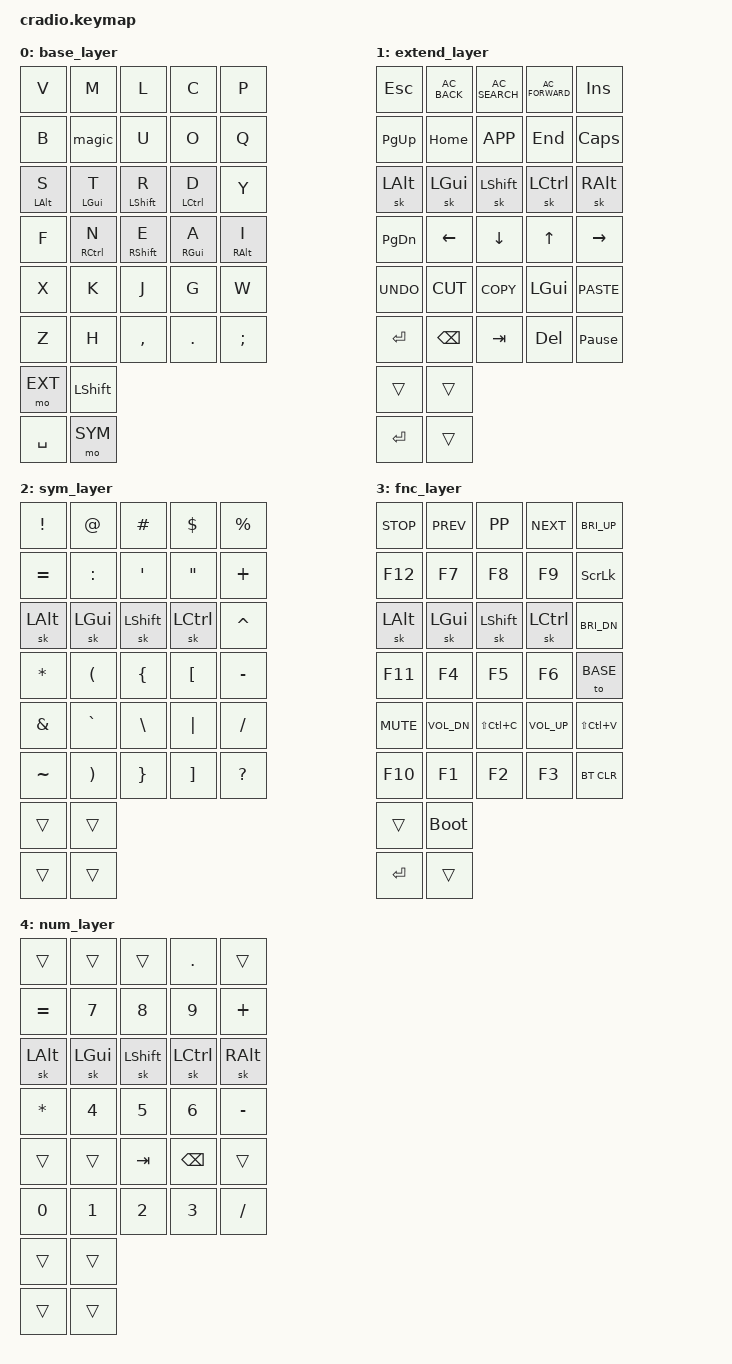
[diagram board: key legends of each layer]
// Copyright (c) 2022 The ZMK Contributors
// SPDX-License-Identifier: MIT

#include <behaviors.dtsi>
#include <dt-bindings/zmk/keys.h>
#include <dt-bindings/zmk/bt.h>

#include "magic_sturdy.dtsi"

#define BASE 0
#define EXT 1
#define SYM 2
#define FNC 3
#define NUM 4

/ {
    // The Ferris Sweep / Cradio has 34 keys numbered 0 to 33.
    // Thumb keys are: 30 (Outer Left), 31 (Inner Left), 32 (Inner Right), 33 (Outer Right)
    behaviors {
        hml: home_row_mod_left {
            compatible = "zmk,behavior-hold-tap";
            #binding-cells = <2>;

            flavor = "balanced";
            tapping-term-ms = <210>;
            quick-tap-ms = <150>;
            require-prior-idle-ms = <110>;

            bindings = <&kp>, <&kp>;

            // Opposite-hand keys: right fingers + right thumbs.
            hold-trigger-key-positions = <
                5 6 7 8 9
                15 16 17 18 19
                25 26 27 28 29
                32 33
            >;

            hold-trigger-on-release;
        };

        hmr: home_row_mod_right {
            compatible = "zmk,behavior-hold-tap";
            #binding-cells = <2>;

            flavor = "balanced";
            tapping-term-ms = <280>;
            quick-tap-ms = <175>;
            require-prior-idle-ms = <150>;

            bindings = <&kp>, <&kp>;

            // Opposite-hand keys: left fingers + left thumbs.
            hold-trigger-key-positions = <
                0 1 2 3 4
                10 11 12 13 14
                20 21 22 23 24
                30 31
            >;

            hold-trigger-on-release;
        };
    };

    combos {
        compatible = "zmk,combos";
        
        // Seniply triggers the Number layer by pressing the Shift + Sym thumbs simultaneously.
        combo_num {
            timeout-ms = <50>;
            key-positions = <31 33>; 
            bindings = <&mo NUM>;
        };
    };

    conditional_layers {
        compatible = "zmk,conditional-layers";
        
        // Seniply triggers the Function layer by pressing the Extend + Sym thumbs simultaneously.
        func_layer {
            if-layers = <EXT SYM>;
            then-layer = <FNC>;
        };
    };

    keymap {
        compatible = "zmk,keymap";

        base_layer {
            bindings = <
                &kp V          &kp M          &kp L           &kp C          &kp P
                &kp B          &magic         &kp U           &kp O          &kp Q

                &hml LALT S    &hml LGUI T    &hml LSHIFT R   &hml LCTRL D   &kp Y
                &kp F          &hmr RCTRL N   &hmr RSHIFT E   &hmr RGUI A    &hmr RALT I

                &kp X          &kp K          &kp J           &kp G          &kp W
                &kp Z          &kp H          &kp COMMA       &kp DOT        &kp SEMI

                &mo EXT        &kp LSHFT
                &kp SPACE      &mo SYM
            >;
        };

        extend_layer {
            bindings = <
            // ╭──────────┬──────────┬──────────┬──────────┬──────────╮  ╭──────────┬──────────┬──────────┬──────────┬──────────╮
            // │ ESC      │ BACK     │ FIND     │ FORWARD  │ INSERT   │  │ PG UP    │ HOME     │ APP      │ END      │ CAPS     │
                 &kp ESC    &kp C_AC_BACK &kp C_AC_SEARCH &kp C_AC_FORWARD &kp INS   &kp PG_UP  &kp HOME   &kp K_APP     &kp END    &kp CAPS
            // ├──────────┼──────────┼──────────┼──────────┼──────────┤  ├──────────┼──────────┼──────────┼──────────┼──────────┤
            // │ sk ALT   │ sk GUI   │ sk SHIFT │ sk CTRL  │ sk ALTGR │  │ PG DN    │ LEFT     │ DOWN     │ UP       │ RIGHT    │
                 &sk LALT   &sk LGUI   &sk LSHFT  &sk LCTRL  &sk RALT      &kp PG_DN  &kp LEFT   &kp DOWN   &kp UP     &kp RIGHT
            // ├──────────┼──────────┼──────────┼──────────┼──────────┤  ├──────────┼──────────┼──────────┼──────────┼──────────┤
            // │ UNDO     │ CUT      │ COPY     │ GUI      │ PASTE    │  │ ENTER    │ BACKSPACE│ TAB      │ DEL      │ PAUSE    │
                 &kp K_UNDO &kp K_CUT  &kp K_COPY &kp LGUI &kp K_PASTE     &kp RET    &kp BSPC   &kp TAB    &kp DEL    &kp PAUSE_BREAK
            // ╰──────────┴──────────┴──────────┼──────────┼──────────┤  ├──────────┼──────────┼──────────┴──────────┴──────────╯
                                                 &trans     &trans        &kp RET     &trans
            >;
        };

        sym_layer {
            bindings = <
            // ╭──────────┬──────────┬──────────┬──────────┬──────────╮  ╭──────────┬──────────┬──────────┬──────────┬──────────╮
            // │  !       │  @       │  #       │  $       │  %       │  │  =       │  :       │  '       │  "       │  +       │
                 &kp EXCL   &kp AT     &kp HASH   &kp DLLR   &kp PRCNT     &kp EQUAL  &kp COLON  &kp SQT    &kp DQT    &kp PLUS
            // ├──────────┼──────────┼──────────┼──────────┼──────────┤  ├──────────┼──────────┼──────────┼──────────┼──────────┤
            // │ sk ALT   │ sk GUI   │ sk SHIFT │ sk CTRL  │  ^       │  │  *       │  (       │  {       │  [       │  -       │
                 &sk LALT   &sk LGUI   &sk LSHFT  &sk LCTRL  &kp CARET     &kp ASTRK  &kp LPAR   &kp LBRC   &kp LBKT   &kp MINUS
            // ├──────────┼──────────┼──────────┼──────────┼──────────┤  ├──────────┼──────────┼──────────┼──────────┼──────────┤
            // │ &        │  `       │  \       │  |       │  /       │  │  ~       │  )       │  }       │  ]       │  ?       │
                 &kp AMPS   &kp GRAVE  &kp BSLH   &kp PIPE   &kp FSLH      &kp TILDE  &kp RPAR   &kp RBRC   &kp RBKT   &kp QMARK
            // ╰──────────┴──────────┴──────────┼──────────┼──────────┤  ├──────────┼──────────┼──────────┴──────────┴──────────╯
                                                 &trans     &trans        &trans     &trans
            >;
        };

        fnc_layer {
            bindings = <
            // ╭──────────┬──────────┬──────────┬──────────┬──────────╮  ╭──────────┬──────────┬──────────┬──────────┬──────────╮
            // │ STOP     │ PREV     │ PLAY/PAU │ NEXT     │ BR UP    │  │ F12      │ F7       │ F8       │ F9       │ SCROLL LK│
                 &kp K_STOP &kp K_PREV &kp K_PP   &kp K_NEXT &kp C_BRI_UP  &kp F12    &kp F7     &kp F8     &kp F9     &kp SLCK
            // ├──────────┼──────────┼──────────┼──────────┼──────────┤  ├──────────┼──────────┼──────────┼──────────┼──────────┤
            // │ ALT      │ GUI      │ SHIFT    │ CTRL     │ BR DN    │  │ F11      │ F4       │ F5       │ F6       │ To BASE  │
                 &sk LALT   &sk LGUI   &sk LSHFT  &sk LCTRL  &kp C_BRI_DN  &kp F11    &kp F4     &kp F5     &kp F6     &to BASE
            // ├──────────┼──────────┼──────────┼──────────┼──────────┤  ├──────────┼──────────┼──────────┼──────────┼──────────┤
            // │ MUTE     │ VOL DN   │ C+S+C    │ VOL UP   │ C+S+V    │  │ F10      │ F1       │ F2       │ F3       │ BT_CLR   |
                 &kp K_MUTE &kp K_VOL_DN &kp LS(LC(C)) &kp K_VOL_UP &kp LS(LC(V)) &kp F10    &kp F1     &kp F2     &kp F3      &bt BT_CLR
            // ╰──────────┴──────────┴──────────┼──────────┼──────────┤  ├──────────┼──────────┼──────────┴──────────┴──────────╯
                                                 &trans     &bootloader   &kp RET    &trans
            >;
        };

        num_layer {
            bindings = <
            // ╭──────────┬──────────┬──────────┬──────────┬──────────╮  ╭──────────┬──────────┬──────────┬──────────┬──────────╮
            // │          │          │          │  .       │          │  │  =       │  7       │  8       │  9       │  +       │
                 &trans     &trans     &trans     &kp DOT    &trans        &kp EQUAL  &kp N7     &kp N8     &kp N9     &kp PLUS
            // ├──────────┼──────────┼──────────┼──────────┼──────────┤  ├──────────┼──────────┼──────────┼──────────┼──────────┤
            // │ sk ALT   │ sk GUI   │ sk SHIFT │ sk CTRL  │ sk ALTGR │  │  *       │  4       │  5       │  6       │  -       │
                 &sk LALT   &sk LGUI   &sk LSHFT  &sk LCTRL  &sk RALT      &kp ASTRK  &kp N4     &kp N5     &kp N6     &kp MINUS
            // ├──────────┼──────────┼──────────┼──────────┼──────────┤  ├──────────┼──────────┼──────────┼──────────┼──────────┤
            // │          │          │ TAB      │ BSPC     │          │  │  0       │  1       │  2       │  3       │  /       │
                 &trans     &trans     &kp TAB    &kp BSPC   &trans        &kp N0     &kp N1     &kp N2     &kp N3     &kp FSLH
            // ╰──────────┴──────────┴──────────┼──────────┼──────────┤  ├──────────┼──────────┼──────────┴──────────┴──────────╯
                                                 &trans     &trans        &trans     &trans
            >;
        };
    };
};
